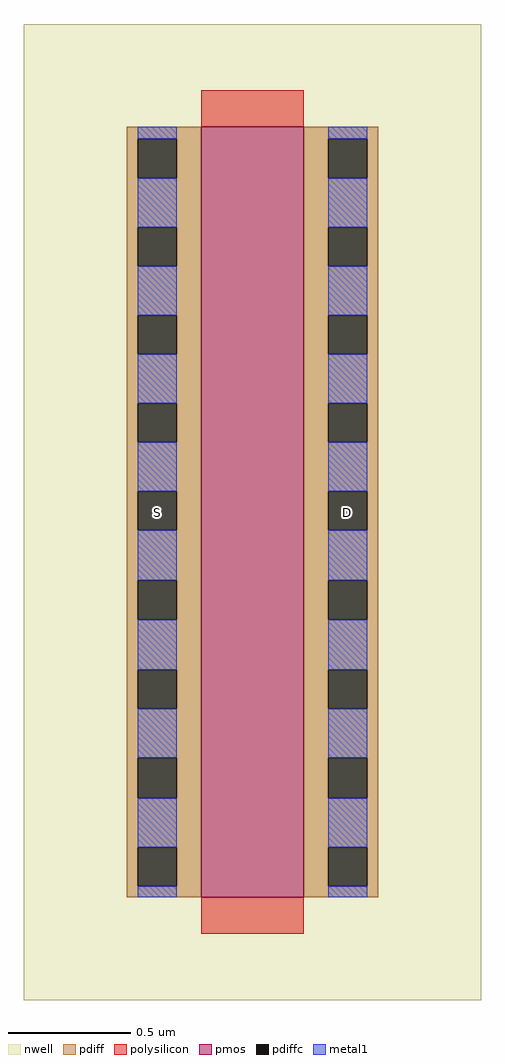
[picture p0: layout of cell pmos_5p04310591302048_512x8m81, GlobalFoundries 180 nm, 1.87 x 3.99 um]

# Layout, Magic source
magic
tech gf180mcuD
magscale 1 10
<< nwell >>
rect -145 -84 229 714
<< pmos >>
rect 0 0 84 630
<< pdiff >>
rect -61 620 0 630
rect -61 588 -52 620
rect -20 588 0 620
rect -61 548 0 588
rect -61 516 -52 548
rect -20 516 0 548
rect -61 476 0 516
rect -61 444 -52 476
rect -20 444 0 476
rect -61 404 0 444
rect -61 372 -52 404
rect -20 372 0 404
rect -61 332 0 372
rect -61 300 -52 332
rect -20 300 0 332
rect -61 259 0 300
rect -61 227 -52 259
rect -20 227 0 259
rect -61 186 0 227
rect -61 154 -52 186
rect -20 154 0 186
rect -61 114 0 154
rect -61 81 -52 114
rect -20 81 0 114
rect -61 41 0 81
rect -61 9 -52 41
rect -20 9 0 41
rect -61 0 0 9
rect 84 620 145 630
rect 84 588 104 620
rect 136 588 145 620
rect 84 548 145 588
rect 84 516 104 548
rect 136 516 145 548
rect 84 476 145 516
rect 84 444 104 476
rect 136 444 145 476
rect 84 404 145 444
rect 84 372 104 404
rect 136 372 145 404
rect 84 332 145 372
rect 84 300 104 332
rect 136 300 145 332
rect 84 259 145 300
rect 84 227 104 259
rect 136 227 145 259
rect 84 186 145 227
rect 84 154 104 186
rect 136 154 145 186
rect 84 114 145 154
rect 84 81 104 114
rect 136 81 145 114
rect 84 41 145 81
rect 84 9 104 41
rect 136 9 145 41
rect 84 0 145 9
<< pdiffc >>
rect -52 588 -20 620
rect -52 516 -20 548
rect -52 444 -20 476
rect -52 372 -20 404
rect -52 300 -20 332
rect -52 227 -20 259
rect -52 154 -20 186
rect -52 81 -20 114
rect -52 9 -20 41
rect 104 588 136 620
rect 104 516 136 548
rect 104 444 136 476
rect 104 372 136 404
rect 104 300 136 332
rect 104 227 136 259
rect 104 154 136 186
rect 104 81 136 114
rect 104 9 136 41
<< polysilicon >>
rect 0 630 84 660
rect 0 -30 84 0
<< metal1 >>
rect -52 620 -20 630
rect -52 548 -20 588
rect -52 476 -20 516
rect -52 404 -20 444
rect -52 332 -20 372
rect -52 259 -20 300
rect -52 186 -20 227
rect -52 114 -20 154
rect -52 41 -20 81
rect -52 0 -20 9
rect 104 620 136 630
rect 104 548 136 588
rect 104 476 136 516
rect 104 404 136 444
rect 104 332 136 372
rect 104 259 136 300
rect 104 186 136 227
rect 104 114 136 154
rect 104 41 136 81
rect 104 0 136 9
<< labels >>
flabel pdiffc -36 315 -36 315 0 FreeSans 280 0 0 0 S
flabel pdiffc 120 315 120 315 0 FreeSans 280 0 0 0 D
<< end >>
